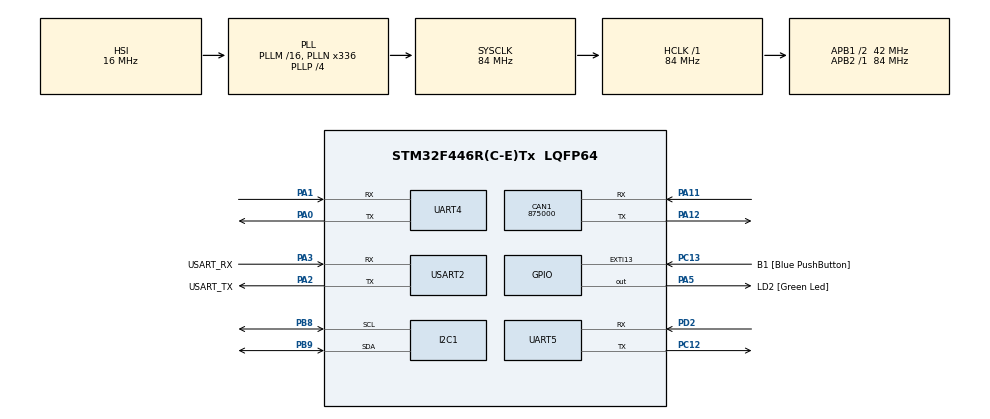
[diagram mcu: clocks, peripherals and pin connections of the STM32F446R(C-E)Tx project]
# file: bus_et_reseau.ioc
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CAN1.CalculateBaudRate=875000
CAN1.CalculateTimeBit=1142
CAN1.CalculateTimeQuantum=380.95238095238096
Mcu.Family=STM32F4
Mcu.Name=STM32F446R(C-E)Tx
Mcu.Package=LQFP64
NVIC.PriorityGroup=NVIC_PRIORITYGROUP_0
PA0-WKUP.Mode=Asynchronous
PA0-WKUP.Signal=UART4_TX
PA1.Mode=Asynchronous
PA1.Signal=UART4_RX
PA11.Mode=CAN_Activate
PA11.Signal=CAN1_RX
PA12.Mode=CAN_Activate
PA12.Signal=CAN1_TX
PA13.GPIO_Label=TMS
PA13.Mode=Serial_Wire
PA13.Signal=SYS_JTMS-SWDIO
PA14.GPIO_Label=TCK
PA14.Mode=Serial_Wire
PA14.Signal=SYS_JTCK-SWCLK
PA2.GPIO_Label=USART_TX
PA2.Mode=Asynchronous
PA2.Signal=USART2_TX
PA3.GPIO_Label=USART_RX
PA3.Mode=Asynchronous
PA3.Signal=USART2_RX
PA5.GPIO_Label=LD2 [Green Led]
PA5.Signal=GPIO_Output
PB3.GPIO_Label=SWO
PB3.Signal=SYS_JTDO-SWO
PB8.Mode=I2C
PB8.Signal=I2C1_SCL
PB9.Mode=I2C
PB9.Signal=I2C1_SDA
PC12.Mode=Asynchronous
PC12.Signal=UART5_TX
PC13.GPIO_Label=B1 [Blue PushButton]
PC13.GPIO_ModeDefaultEXTI=GPIO_MODE_IT_FALLING
PC13.Signal=GPXTI13
PC14-OSC32_IN.Mode=LSE-External-Oscillator
PC14-OSC32_IN.Signal=RCC_OSC32_IN
PC15-OSC32_OUT.Mode=LSE-External-Oscillator
PC15-OSC32_OUT.Signal=RCC_OSC32_OUT
PD2.Mode=Asynchronous
PD2.Signal=UART5_RX
PH0-OSC_IN.Mode=HSE-External-Oscillator
PH0-OSC_IN.Signal=RCC_OSC_IN
PH1-OSC_OUT.Mode=HSE-External-Oscillator
PH1-OSC_OUT.Signal=RCC_OSC_OUT
ProjectManager.HeapSize=0x200
ProjectManager.StackSize=0x400
ProjectManager.TargetToolchain=STM32CubeIDE
RCC.48MHZClocksFreq_Value=84000000
RCC.AHBFreq_Value=84000000
RCC.APB1CLKDivider=RCC_HCLK_DIV2
RCC.APB1Freq_Value=42000000
RCC.APB1TimFreq_Value=84000000
RCC.APB2Freq_Value=84000000
RCC.APB2TimFreq_Value=84000000
RCC.CortexFreq_Value=84000000
RCC.FLatency-AdvancedSettings=FLASH_LATENCY_2
RCC.HCLKFreq_Value=84000000
RCC.HSE_VALUE=8000000
RCC.HSI_VALUE=16000000
RCC.PLLN=336
RCC.PLLP=RCC_PLLP_DIV4
RCC.SYSCLKFreq_VALUE=84000000
RCC.SYSCLKSource=RCC_SYSCLKSOURCE_PLLCLK
RCC.USBFreq_Value=168000000
RCC.VCOOutputFreq_Value=336000000
UART4.VirtualMode=Asynchronous
UART5.VirtualMode=Asynchronous
USART2.VirtualMode=VM_ASYNC
board=NUCLEO-F446RE

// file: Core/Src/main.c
/* USER CODE BEGIN Header */
/**
 ******************************************************************************
 * @file           : main.c
 * @brief          : Main program body
 ******************************************************************************
 * @attention
 *
 * Copyright (c) 2023 STMicroelectronics.
 * All rights reserved.
 *
 * This software is licensed under terms that can be found in the LICENSE file
 * in the root directory of this software component.
 * If no LICENSE file comes with this software, it is provided AS-IS.
 *
 ******************************************************************************
 */
/* USER CODE END Header */
#include "main.h"

/* USER CODE BEGIN Includes */
#include "BMP280.h"
#include "stdio.h"

/* USER CODE END Includes */

CAN_HandleTypeDef hcan1;

I2C_HandleTypeDef hi2c1;

UART_HandleTypeDef huart4;
UART_HandleTypeDef huart5;
UART_HandleTypeDef huart2;

/* USER CODE BEGIN PV */
h_BMP280_t h_BMP280;
/* USER CODE END PV */

void SystemClock_Config(void);
static void MX_GPIO_Init(void);
static void MX_USART2_UART_Init(void);
static void MX_CAN1_Init(void);
static void MX_I2C1_Init(void);
static void MX_UART4_Init(void);
static void MX_UART5_Init(void);

/* USER CODE BEGIN 0 */

int I2C_transmit(uint8_t address, uint8_t *p_data, uint16_t size)
{
	HAL_I2C_Master_Transmit(&hi2c1, address, p_data, size, 100);
	return 0;
}

int I2C_receive(uint8_t address, uint8_t *p_data, uint16_t size)
{

	HAL_I2C_Master_Receive(&hi2c1, address, p_data, size, 100);
	return 0;
}
/* USER CODE END 0 */

int main(void)
{

  /* MCU Configuration--------------------------------------------------------*/

  /* Reset of all peripherals, Initializes the Flash interface and the Systick. */
  HAL_Init();

  /* Configure the system clock */
  SystemClock_Config();

  /* Initialize all configured peripherals */
  MX_GPIO_Init();
  MX_USART2_UART_Init();
  MX_CAN1_Init();
  MX_I2C1_Init();
  MX_UART4_Init();
  MX_UART5_Init();
  /* USER CODE BEGIN 2 */
	/*
  pdata=0xD0;
  HAL_I2C_Master_Transmit(&hi2c1,(uint16_t)(bmp280_adr<<1),  pdata, 1, 100);
  HAL_I2C_Master_Receive(&hi2c1,(uint16_t)(bmp280_adr<<1) , pdata, 1, 100);
	 */
	h_BMP280.I2C_drv.receive = I2C_receive;
	h_BMP280.I2C_drv.transmit = I2C_transmit;
	BMP280_init(&h_BMP280);
	printf("chip ID = 0x%02X\r\n", h_BMP280.chip);
	printf("power mode = 0x%02X\r\n", h_BMP280.power);
	printf("sample = 0x%02X\r\n", h_BMP280.sample);

  /* USER CODE END 2 */

  /* Infinite loop */
	while (1)
	{

	}
}

void SystemClock_Config(void)
{
  RCC_OscInitTypeDef RCC_OscInitStruct = {0};
  RCC_ClkInitTypeDef RCC_ClkInitStruct = {0};

  /** Configure the main internal regulator output voltage
  */
  __HAL_RCC_PWR_CLK_ENABLE();
  __HAL_PWR_VOLTAGESCALING_CONFIG(PWR_REGULATOR_VOLTAGE_SCALE3);

  /** Initializes the RCC Oscillators according to the specified parameters
  * in the RCC_OscInitTypeDef structure.
  */
  RCC_OscInitStruct.OscillatorType = RCC_OSCILLATORTYPE_HSI;
  RCC_OscInitStruct.HSIState = RCC_HSI_ON;
  RCC_OscInitStruct.HSICalibrationValue = RCC_HSICALIBRATION_DEFAULT;
  RCC_OscInitStruct.PLL.PLLState = RCC_PLL_ON;
  RCC_OscInitStruct.PLL.PLLSource = RCC_PLLSOURCE_HSI;
  RCC_OscInitStruct.PLL.PLLM = 16;
  RCC_OscInitStruct.PLL.PLLN = 336;
  RCC_OscInitStruct.PLL.PLLP = RCC_PLLP_DIV4;
  RCC_OscInitStruct.PLL.PLLQ = 2;
  RCC_OscInitStruct.PLL.PLLR = 2;
  if (HAL_RCC_OscConfig(&RCC_OscInitStruct) != HAL_OK)
  {
    Error_Handler();
  }

  /** Initializes the CPU, AHB and APB buses clocks
  */
  RCC_ClkInitStruct.ClockType = RCC_CLOCKTYPE_HCLK|RCC_CLOCKTYPE_SYSCLK
                              |RCC_CLOCKTYPE_PCLK1|RCC_CLOCKTYPE_PCLK2;
  RCC_ClkInitStruct.SYSCLKSource = RCC_SYSCLKSOURCE_PLLCLK;
  RCC_ClkInitStruct.AHBCLKDivider = RCC_SYSCLK_DIV1;
  RCC_ClkInitStruct.APB1CLKDivider = RCC_HCLK_DIV2;
  RCC_ClkInitStruct.APB2CLKDivider = RCC_HCLK_DIV1;

  if (HAL_RCC_ClockConfig(&RCC_ClkInitStruct, FLASH_LATENCY_2) != HAL_OK)
  {
    Error_Handler();
  }
}

static void MX_CAN1_Init(void)
{

  hcan1.Instance = CAN1;
  hcan1.Init.Prescaler = 16;
  hcan1.Init.Mode = CAN_MODE_NORMAL;
  hcan1.Init.SyncJumpWidth = CAN_SJW_1TQ;
  hcan1.Init.TimeSeg1 = CAN_BS1_1TQ;
  hcan1.Init.TimeSeg2 = CAN_BS2_1TQ;
  hcan1.Init.TimeTriggeredMode = DISABLE;
  hcan1.Init.AutoBusOff = DISABLE;
  hcan1.Init.AutoWakeUp = DISABLE;
  hcan1.Init.AutoRetransmission = DISABLE;
  hcan1.Init.ReceiveFifoLocked = DISABLE;
  hcan1.Init.TransmitFifoPriority = DISABLE;
  if (HAL_CAN_Init(&hcan1) != HAL_OK)
  {
    Error_Handler();
  }

}

static void MX_I2C1_Init(void)
{

  hi2c1.Instance = I2C1;
  hi2c1.Init.ClockSpeed = 100000;
  hi2c1.Init.DutyCycle = I2C_DUTYCYCLE_2;
  hi2c1.Init.OwnAddress1 = 0;
  hi2c1.Init.AddressingMode = I2C_ADDRESSINGMODE_7BIT;
  hi2c1.Init.DualAddressMode = I2C_DUALADDRESS_DISABLE;
  hi2c1.Init.OwnAddress2 = 0;
  hi2c1.Init.GeneralCallMode = I2C_GENERALCALL_DISABLE;
  hi2c1.Init.NoStretchMode = I2C_NOSTRETCH_DISABLE;
  if (HAL_I2C_Init(&hi2c1) != HAL_OK)
  {
    Error_Handler();
  }

}

static void MX_UART4_Init(void)
{

  huart4.Instance = UART4;
  huart4.Init.BaudRate = 115200;
  huart4.Init.WordLength = UART_WORDLENGTH_8B;
  huart4.Init.StopBits = UART_STOPBITS_1;
  huart4.Init.Parity = UART_PARITY_NONE;
  huart4.Init.Mode = UART_MODE_TX_RX;
  huart4.Init.HwFlowCtl = UART_HWCONTROL_NONE;
  huart4.Init.OverSampling = UART_OVERSAMPLING_16;
  if (HAL_UART_Init(&huart4) != HAL_OK)
  {
    Error_Handler();
  }

}

static void MX_UART5_Init(void)
{

  huart5.Instance = UART5;
  huart5.Init.BaudRate = 115200;
  huart5.Init.WordLength = UART_WORDLENGTH_8B;
  huart5.Init.StopBits = UART_STOPBITS_1;
  huart5.Init.Parity = UART_PARITY_NONE;
  huart5.Init.Mode = UART_MODE_TX_RX;
  huart5.Init.HwFlowCtl = UART_HWCONTROL_NONE;
  huart5.Init.OverSampling = UART_OVERSAMPLING_16;
  if (HAL_UART_Init(&huart5) != HAL_OK)
  {
    Error_Handler();
  }

}

static void MX_USART2_UART_Init(void)
{

  huart2.Instance = USART2;
  huart2.Init.BaudRate = 115200;
  huart2.Init.WordLength = UART_WORDLENGTH_8B;
  huart2.Init.StopBits = UART_STOPBITS_1;
  huart2.Init.Parity = UART_PARITY_NONE;
  huart2.Init.Mode = UART_MODE_TX_RX;
  huart2.Init.HwFlowCtl = UART_HWCONTROL_NONE;
  huart2.Init.OverSampling = UART_OVERSAMPLING_16;
  if (HAL_UART_Init(&huart2) != HAL_OK)
  {
    Error_Handler();
  }

}

static void MX_GPIO_Init(void)
{
  GPIO_InitTypeDef GPIO_InitStruct = {0};

  /* GPIO Ports Clock Enable */
  __HAL_RCC_GPIOC_CLK_ENABLE();
  __HAL_RCC_GPIOH_CLK_ENABLE();
  __HAL_RCC_GPIOA_CLK_ENABLE();
  __HAL_RCC_GPIOD_CLK_ENABLE();
  __HAL_RCC_GPIOB_CLK_ENABLE();

  /*Configure GPIO pin Output Level */
  HAL_GPIO_WritePin(LD2_GPIO_Port, LD2_Pin, GPIO_PIN_RESET);

  /*Configure GPIO pin : B1_Pin */
  GPIO_InitStruct.Pin = B1_Pin;
  GPIO_InitStruct.Mode = GPIO_MODE_IT_FALLING;
  GPIO_InitStruct.Pull = GPIO_NOPULL;
  HAL_GPIO_Init(B1_GPIO_Port, &GPIO_InitStruct);

  /*Configure GPIO pin : LD2_Pin */
  GPIO_InitStruct.Pin = LD2_Pin;
  GPIO_InitStruct.Mode = GPIO_MODE_OUTPUT_PP;
  GPIO_InitStruct.Pull = GPIO_NOPULL;
  GPIO_InitStruct.Speed = GPIO_SPEED_FREQ_LOW;
  HAL_GPIO_Init(LD2_GPIO_Port, &GPIO_InitStruct);

}

void Error_Handler(void)
{
	__disable_irq();
	while (1)
	{
	}
}
